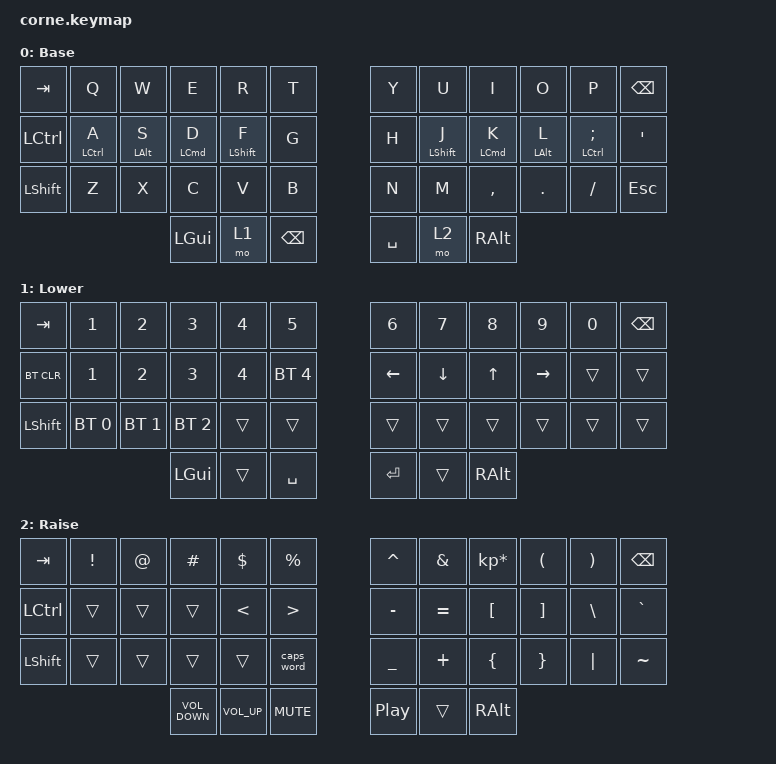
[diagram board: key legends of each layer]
/*
 * Copyright (c) 2020 The ZMK Contributors
 *
 * SPDX-License-Identifier: MIT
 */

#include <behaviors.dtsi>
#include <dt-bindings/zmk/bt.h>
#include <dt-bindings/zmk/keys.h>

/ {
    combos {
        compatible = "zmk,combos";

        Enter {
            bindings = <&kp ENTER>;
            key-positions = <38 39>;
        };

        Esacpe {
            bindings = <&kp ESC>;
            key-positions = <37 40>;
        };

        Terminal {
            bindings = <&kp F3>;
            key-positions = <16 19>;
        };
    };

    behaviors {
        hml: hml {
            compatible = "zmk,behavior-hold-tap";
            label = "HML";
            bindings = <&kp>, <&kp>;

            #binding-cells = <2>;
            tapping-term-ms = <280>;
            quick-tap-ms = <175>;
            flavor = "balanced";
            hold-trigger-on-release;
            hold-trigger-key-positions = <39 40 41 6 7 8 9 18 19 20 21 30 31 32 33 10 22 34 11 23 35>;
            require-prior-idle-ms = <150>;
        };

        hmr: hmr {
            compatible = "zmk,behavior-hold-tap";
            label = "HMR";
            bindings = <&kp>, <&kp>;

            #binding-cells = <2>;
            tapping-term-ms = <280>;
            quick-tap-ms = <175>;
            hold-trigger-key-positions = <0 12 13 1 2 14 15 3 4 5 17 16 28 29 27 26 25 24 36 37 38>;
            hold-trigger-on-release;
            require-prior-idle-ms = <150>;
        };
    };

    keymap {
        compatible = "zmk,keymap";

        default_layer {
            // -----------------------------------------------------------------------------------------
            // |  TAB |  Q  |  W  |  E  |  R  |  T  |   |  Y  |  U   |  I  |  O  |  P  | BKSP |
            // | CTRL |  A  |  S  |  D  |  F  |  G  |   |  H  |  J   |  K  |  L  |  ;  |  '   |
            // | SHFT |  Z  |  X  |  C  |  V  |  B  |   |  N  |  M   |  ,  |  .  |  /  | ESC  |
            //                    | GUI | LWR | SPC |   | ENT | RSE  | ALT |

            display-name = "Base";
            bindings = <
&kp TAB    &kp Q         &kp W            &kp E                &kp R          &kp T            &kp Y      &kp U              &kp I                &kp O            &kp P                   &kp BSPC
&kp LCTRL  &hml LCTRL A  &hml LEFT_ALT S  &hml LEFT_COMMAND D  &hml LSHIFT F  &kp G            &kp H      &hmr LEFT_SHIFT J  &hmr LEFT_COMMAND K  &hmr LEFT_ALT L  &hmr LEFT_CONTROL SEMI  &kp SQT
&kp LSHFT  &kp Z         &kp X            &kp C                &kp V          &kp B            &kp N      &kp M              &kp COMMA            &kp DOT          &kp FSLH                &kp ESC
                                          &kp LGUI             &mo 1          &kp BACKSPACE    &kp SPACE  &mo 2              &kp RALT
            >;
        };

        lower_layer {
            // -----------------------------------------------------------------------------------------
            // |  TAB |  1  |  2  |  3  |  4  |  5  |   |  6  |  7  |  8  |  9  |  0  | BKSP |
            // | BTCLR| BT1 | BT2 | BT3 | BT4 | BT5 |   | LFT | DWN |  UP | RGT |     |      |
            // | SHFT |     |     |     |     |     |   |     |     |     |     |     |      |
            //                    | GUI |     | SPC |   | ENT |     | ALT |

            display-name = "Lower";
            bindings = <
&kp TAB     &kp N1        &kp N2        &kp N3        &kp N4        &kp N5          &kp N6    &kp N7    &kp N8    &kp N9     &kp N0  &kp BSPC
&bt BT_CLR  &kp NUMBER_1  &kp NUMBER_2  &kp NUMBER_3  &kp NUMBER_4  &bt BT_SEL 4    &kp LEFT  &kp DOWN  &kp UP    &kp RIGHT  &trans  &trans
&kp LSHFT   &bt BT_SEL 0  &bt BT_SEL 1  &bt BT_SEL 2  &trans        &trans          &trans    &trans    &trans    &trans     &trans  &trans
                                        &kp LGUI      &trans        &kp SPACE       &kp RET   &trans    &kp RALT
            >;
        };

        raise_layer {
            // -----------------------------------------------------------------------------------------
            // |  TAB |  !  |  @  |  #  |  $  |  %  |   |  ^  |  &  |  *  |  (  |  )  | BKSP |
            // | CTRL |     |     |     |     |     |   |  -  |  =  |  [  |  ]  |  \  |  `   |
            // | SHFT |     |     |     |     |     |   |  _  |  +  |  {  |  }  | "|" |  ~   |
            //                    | GUI |     | SPC |   | ENT |     | ALT |

            display-name = "Raise";
            bindings = <
&kp TAB    &kp EXCL  &kp AT  &kp HASH           &kp DLLR         &kp PRCNT           &kp CARET         &kp AMPS   &kp KP_MULTIPLY  &kp LPAR  &kp RPAR  &kp BSPC
&kp LCTRL  &trans    &trans  &trans             &kp LESS_THAN    &kp GREATER_THAN    &kp MINUS         &kp EQUAL  &kp LBKT         &kp RBKT  &kp BSLH  &kp GRAVE
&kp LSHFT  &trans    &trans  &trans             &trans           &caps_word          &kp UNDER         &kp PLUS   &kp LBRC         &kp RBRC  &kp PIPE  &kp TILDE
                             &kp C_VOLUME_DOWN  &kp C_VOLUME_UP  &kp K_MUTE          &kp C_PLAY_PAUSE  &trans     &kp RALT
            >;
        };
    };
};
